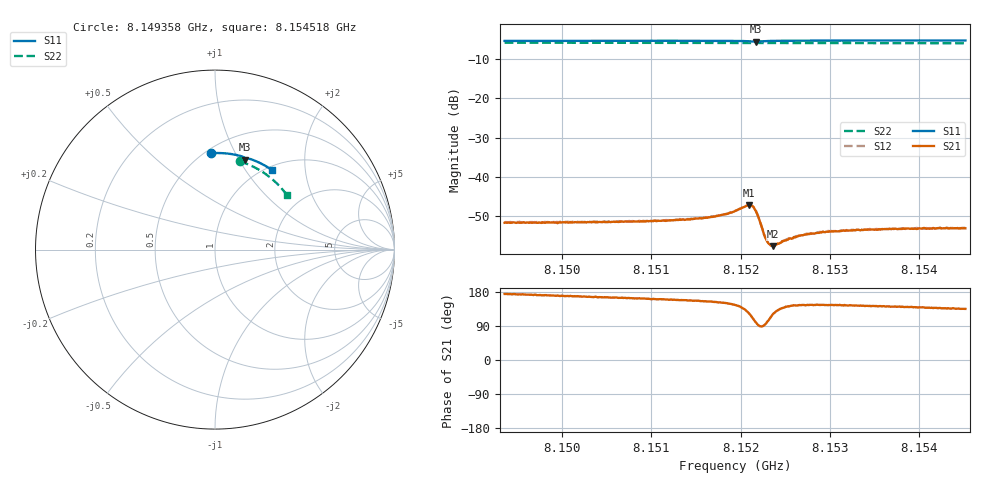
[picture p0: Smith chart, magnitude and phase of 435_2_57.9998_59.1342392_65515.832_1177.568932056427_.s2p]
#  HZ  S  RI  R  50.00
! Rohde & Schwarz Vector Network Analyzer
! Rohde-Schwarz,ZNB20-2Port,1311601062101988,3.16
! Created: UTC 3/21/2024, 1:09:49 AM
! freq[Hz]  re:S11  im:S11  re:S21  im:S21  re:S12  im:S12  re:S22  im:S22
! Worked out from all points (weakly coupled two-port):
!   401 points, 8.149358 GHz to 8.154518 GHz, reference 50 ohm
!   highest |S21| = -47.20 dB at 8.152093 GHz (marker M1); lowest = -57.6 dB at 8.152364 GHz (marker M2)
!   lowest |S11| = -5.6 dB at 8.15217 GHz (marker M3), VSWR 3.23, Z = 38.2 + j53 ohm
!   |S11| at or under -10 dB: nowhere
!   |S22| runs from -6.0 to -5.8 dB; largest |S21 - S12| = 0.00012
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8.1493583e9  -0.0197 0.537  -0.0026 0.000261  -0.00263 0.000301  0.1388 0.4911
8.1502226e9  0.0404 0.5372  -0.00259 0.000598  -0.00262 0.000619  0.1911 0.4722
8.1510868e9  0.1006 0.5308  -0.0026 0.000927  -0.00262 0.000969  0.2407 0.4473
8.1515899e9  0.1357 0.5233  -0.00273 0.00129  -0.00273 0.0013  0.2683 0.4307
8.1518092e9  0.1517 0.5187  -0.00291 0.00162  -0.00287 0.00167  0.2797 0.4227
8.1519382e9  0.1614 0.5142  -0.00303 0.00209  -0.00301 0.00213  0.2865 0.4179
8.152093e9  0.1703 0.5039  -0.00242 0.00363  -0.0024 0.00368  0.2942 0.4118
8.1521317e9  0.1694 0.5008  -0.00159 0.00395  -0.00157 0.004  0.2959 0.4103
8.1521704e9  0.167 0.5003  -0.000609 0.00364  -0.000548 0.00375  0.2978 0.4089
8.1521962e9  0.1659 0.5018  -0.000134 0.00317  -0.000112 0.00321  0.2991 0.4079
8.1522607e9  0.1685 0.5063  -3.43e-05 0.00188  -1.64e-05 0.00195  0.3023 0.4058
8.1522865e9  0.1708 0.5074  -0.000184 0.0016  -0.000123 0.00163  0.3035 0.4048
8.1523123e9  0.173 0.5081  -0.000352 0.00139  -0.000337 0.0014  0.305 0.4039
8.1523252e9  0.1743 0.5083  -0.000441 0.00132  -0.000455 0.00134  0.3056 0.4034
8.1523639e9  0.1777 0.5085  -0.000687 0.00112  -0.000674 0.00119  0.3075 0.4017
8.1524155e9  0.1821 0.508  -0.000928 0.00108  -0.000915 0.00108  0.3102 0.3997
8.1525316e9  0.1913 0.5063  -0.00125 0.000988  -0.00127 0.00103  0.3159 0.3951
8.1526606e9  0.2007 0.5033  -0.00147 0.00103  -0.00148 0.00102  0.3221 0.3896
8.1528025e9  0.2104 0.5  -0.00157 0.00107  -0.00154 0.0011  0.3288 0.3838
8.152996e9  0.2233 0.4949  -0.00167 0.00115  -0.00165 0.00117  0.3377 0.3755
8.1536667e9  0.2657 0.4747  -0.00171 0.00136  -0.0017 0.00139  0.3673 0.3451
8.1545181e9  0.3162 0.4442  -0.00157 0.00158  -0.00157 0.0016  0.4006 0.3033
